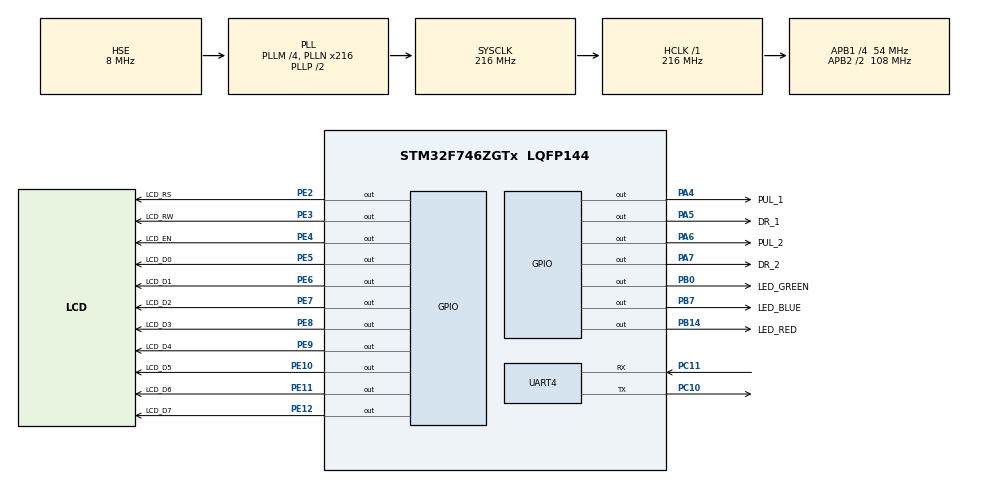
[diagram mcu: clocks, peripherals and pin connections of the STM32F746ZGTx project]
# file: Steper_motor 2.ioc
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Mcu.Family=STM32F7
Mcu.Name=STM32F746ZGTx
Mcu.Package=LQFP144
NVIC.PriorityGroup=NVIC_PRIORITYGROUP_4
PA13.Mode=Serial_Wire
PA13.Signal=SYS_JTMS-SWDIO
PA14.Mode=Serial_Wire
PA14.Signal=SYS_JTCK-SWCLK
PA4.GPIO_Label=PUL_1
PA4.GPIO_Speed=GPIO_SPEED_FREQ_MEDIUM
PA4.PinState=GPIO_PIN_SET
PA4.Signal=GPIO_Output
PA5.GPIO_Label=DR_1
PA5.GPIO_Speed=GPIO_SPEED_FREQ_MEDIUM
PA5.Signal=GPIO_Output
PA6.GPIO_Label=PUL_2
PA6.GPIO_Speed=GPIO_SPEED_FREQ_MEDIUM
PA6.PinState=GPIO_PIN_SET
PA6.Signal=GPIO_Output
PA7.GPIO_Label=DR_2
PA7.GPIO_Speed=GPIO_SPEED_FREQ_MEDIUM
PA7.Signal=GPIO_Output
PB0.GPIO_Label=LED_GREEN
PB0.Signal=GPIO_Output
PB14.GPIO_Label=LED_RED
PB14.Signal=GPIO_Output
PB7.GPIO_Label=LED_BLUE
PB7.Signal=GPIO_Output
PC10.Mode=Asynchronous
PC10.Signal=UART4_TX
PC11.Mode=Asynchronous
PC11.Signal=UART4_RX
PE10.GPIO_Label=LCD_D5
PE10.Signal=GPIO_Output
PE11.GPIO_Label=LCD_D6
PE11.Signal=GPIO_Output
PE12.GPIO_Label=LCD_D7
PE12.Signal=GPIO_Output
PE2.GPIO_Label=LCD_RS
PE2.Signal=GPIO_Output
PE3.GPIO_Label=LCD_RW
PE3.Signal=GPIO_Output
PE4.GPIO_Label=LCD_EN
PE4.Signal=GPIO_Output
PE5.GPIO_Label=LCD_D0
PE5.Signal=GPIO_Output
PE6.GPIO_Label=LCD_D1
PE6.Signal=GPIO_Output
PE7.GPIO_Label=LCD_D2
PE7.Signal=GPIO_Output
PE8.GPIO_Label=LCD_D3
PE8.Signal=GPIO_Output
PE9.GPIO_Label=LCD_D4
PE9.Signal=GPIO_Output
PH0/OSC_IN.Mode=HSE-External-Oscillator
PH0/OSC_IN.Signal=RCC_OSC_IN
PH1/OSC_OUT.Mode=HSE-External-Oscillator
PH1/OSC_OUT.Signal=RCC_OSC_OUT
ProjectManager.HeapSize=0x200
ProjectManager.StackSize=0x400
ProjectManager.TargetToolchain=STM32CubeIDE
RCC.48MHZClocksFreq_Value=24000000
RCC.AHBFreq_Value=216000000
RCC.APB1CLKDivider=RCC_HCLK_DIV4
RCC.APB1Freq_Value=54000000
RCC.APB1TimFreq_Value=108000000
RCC.APB2CLKDivider=RCC_HCLK_DIV2
RCC.APB2Freq_Value=108000000
RCC.APB2TimFreq_Value=216000000
RCC.CortexFreq_Value=216000000
RCC.HCLKFreq_Value=216000000
RCC.HSE_VALUE=8000000
RCC.HSI_VALUE=16000000
RCC.LSE_VALUE=32768
RCC.PLLM=4
RCC.PLLMUL=RCC_PLL_MUL9
RCC.PLLN=216
RCC.PLLSourceVirtual=RCC_PLLSOURCE_HSE
RCC.PRESCALERUSB=RCC_USBCLKSOURCE_PLL_DIV1_5
RCC.SYSCLKFreq_VALUE=216000000
RCC.SYSCLKSource=RCC_SYSCLKSOURCE_PLLCLK
RCC.SYSCLKSourceVirtual=RCC_SYSCLKSOURCE_PLLCLK
RCC.USBFreq_Value=216000000
RCC.VCOOutputFreq_Value=432000000
TIM1.Period=0xFFFF-1
TIM1.Prescaler=215
VP_TIM1_VS_ClockSourceINT.Mode=Internal
board=NUCLEO-F746ZG

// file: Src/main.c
/* USER CODE BEGIN Header */
/**
  ******************************************************************************
  * @file           : main.c
  * @brief          : Main program body
  ******************************************************************************
  * @attention
  *
  * <h2><center>&copy; Copyright (c) 2020 STMicroelectronics.
  * All rights reserved.</center></h2>
  *
  * This software component is licensed by ST under Ultimate Liberty license
  * SLA0044, the "License"; You may not use this file except in compliance with
  * the License. You may obtain a copy of the License at:
  *                             www.st.com/SLA0044
  *
  ******************************************************************************
  */
/* USER CODE END Header */

#include "main.h"

/* USER CODE BEGIN Includes */

#include "string.h"

/* USER CODE END Includes */

TIM_HandleTypeDef htim1;

UART_HandleTypeDef huart4;

/* USER CODE BEGIN PV */

int STATE_IND = 0 ,STOP_IND = 400 ,STATE_FILE_PRO = 0 ,Rx_complate = 1 ,once = 1 ,i = 0 ,j = 0;
char file[1] = {5}  ,file_copy[300000] ,BUFF[16];

/* USER CODE END PV */

void SystemClock_Config(void);
static void MX_GPIO_Init(void);
static void MX_TIM1_Init(void);
static void MX_UART4_Init(void);
/* USER CODE BEGIN PFP */

void delay_us(uint16_t us);

/* USER CODE END PFP */

int main(void)
{

  /* MCU Configuration--------------------------------------------------------*/

  /* Reset of all peripherals, Initializes the Flash interface and the Systick. */
  HAL_Init();

  /* Configure the system clock */
  SystemClock_Config();

  /* Initialize all configured peripherals */
  MX_GPIO_Init();
  MX_TIM1_Init();
  MX_UART4_Init();
  /* USER CODE BEGIN 2 */

  HAL_SuspendTick();
  HAL_TIM_Base_Start(&htim1);
  memset(file_copy ,'5' ,sizeof(file_copy));

  /* USER CODE END 2 */

  /* Infinite loop */
  /* USER CODE BEGIN WHILE */
  while (1)
  {
	   if (once == 1)
	   {
   	    for (i = 0 ;i <= 299999 ;i++)
        {
	          HAL_UART_Receive(&huart4 ,(unsigned char *)file ,1,100000);
		        file_copy[i] = file[0];
        }
	      once = 0;
        STATE_IND = 0;
        GPIOB->BSRR = LED_BLUE_Pin;
  	 }

	  while (STATE_FILE_PRO == 1)                                                        // start after process file
	  {
	     GPIOB->BSRR = LED_RED_Pin;
       switch (file_copy[STATE_IND])
       {
         case 1:
		       GPIOA->BSRR = GPIO_PIN_5;                                           // 5
	         GPIOA->BSRR = GPIO_PIN_7;								 													 // 7
		       GPIOA->BSRR = GPIO_PIN_4;																					 // 4
		       GPIOA->BSRR = GPIO_PIN_6;																					 // 6
		       delay_us(500);
	         GPIOA->BSRR = (uint32_t)GPIO_PIN_4 << 16;
	         GPIOA->BSRR = (uint32_t)GPIO_PIN_6 << 16;
           delay_us(500);
		       STATE_IND += 4;
      	   break;
      	 case 2:
		       GPIOA->BSRR = GPIO_PIN_5;                                           // 5
		       GPIOA->BSRR = (uint32_t)GPIO_PIN_7 << 16;													 // 7
		       GPIOA->BSRR = GPIO_PIN_4;																					 // 4
		       GPIOA->BSRR = GPIO_PIN_6;																					 // 6
		       delay_us(500);
		       GPIOA->BSRR = (uint32_t)GPIO_PIN_4 << 16;
	     	   GPIOA->BSRR = (uint32_t)GPIO_PIN_6 << 16;
	         delay_us(500);
	         STATE_IND += 4;
           break;
    	   case 3:
		       GPIOA->BSRR = GPIO_PIN_5;                                           // 5
	         GPIOA->BSRR = GPIO_PIN_7;																					 // 7
	         GPIOA->BSRR = GPIO_PIN_4;																					 // 4
		       GPIOA->BSRR = GPIO_PIN_6;																					 // 6
		       delay_us(500);
		       GPIOA->BSRR = (uint32_t)GPIO_PIN_4 << 16;
		       delay_us(500);
		       STATE_IND += 4;
		       break;
	       case 4:
	         GPIOA->BSRR = (uint32_t)GPIO_PIN_5 << 16;                           // 5
	         GPIOA->BSRR = GPIO_PIN_7;																					 // 7
		       GPIOA->BSRR = GPIO_PIN_4;																					 // 4
	         GPIOA->BSRR = GPIO_PIN_6;																					 // 6
		       delay_us(500);
		       GPIOA->BSRR = (uint32_t)GPIO_PIN_4 << 16;
		       GPIOA->BSRR = (uint32_t)GPIO_PIN_6 << 16;
		       delay_us(500);
		       STATE_IND += 4;
		       break;
	       case 5:
	         GPIOA->BSRR = (uint32_t)GPIO_PIN_5 << 16;                           // 5
	         GPIOA->BSRR = (uint32_t)GPIO_PIN_7 << 16;													 // 7
	         GPIOA->BSRR = GPIO_PIN_4;																					 // 4
	      	 GPIOA->BSRR = GPIO_PIN_6;																					 // 6
		       delay_us(500);
		       GPIOA->BSRR = (uint32_t)GPIO_PIN_4 << 16;
		       GPIOA->BSRR = (uint32_t)GPIO_PIN_6 << 16;
		       delay_us(500);
		       STATE_IND += 4;
		       break;
	       case 6:
		       GPIOA->BSRR = (uint32_t)GPIO_PIN_5 << 16;                           // 5
		       GPIOA->BSRR = GPIO_PIN_7;																					 // 7
		       GPIOA->BSRR = GPIO_PIN_4;																					 // 4
		       GPIOA->BSRR = GPIO_PIN_6;																					 // 6
		       delay_us(500);
		       GPIOA->BSRR = (uint32_t)GPIO_PIN_4 << 16;
		       delay_us(500);
		       STATE_IND += 4;
		       break;
	    	 case 7:
		       GPIOA->BSRR = GPIO_PIN_5;                                           // 5
		       GPIOA->BSRR = GPIO_PIN_7;																					 // 7
		       GPIOA->BSRR = GPIO_PIN_4;																					 // 4
		       GPIOA->BSRR = GPIO_PIN_6;																					 // 6
		       delay_us(500);
		       GPIOA->BSRR = (uint32_t)GPIO_PIN_6 << 16;
		       delay_us(500);
		       STATE_IND += 4;
	   	     break;
	      case 8:
		      GPIOA->BSRR = GPIO_PIN_5;                                           // 5
		      GPIOA->BSRR = (uint32_t)GPIO_PIN_7 << 16;				  								 // 7
		      GPIOA->BSRR = GPIO_PIN_4;																					 // 4
		      GPIOA->BSRR = GPIO_PIN_6;																					 // 6
		      delay_us(500);
		      GPIOA->BSRR = (uint32_t)GPIO_PIN_6 << 16;
		      delay_us(500);
		      STATE_IND += 4;
		      break;
	      case 9:
		      GPIOA->BSRR = GPIO_PIN_5;                                           // 5
		      GPIOA->BSRR = GPIO_PIN_7;																					 // 7
		      GPIOA->BSRR = GPIO_PIN_4;																					 // 4
		      GPIOA->BSRR = GPIO_PIN_6;																					 // 6
		      delay_us(1000);
		      STATE_IND += 4;
		      break;
       }
	     if (STATE_IND >= STOP_IND)                                                      // end of file and stop running motor
	     {
		      STATE_FILE_PRO = 0;
		      STATE_IND = 0;
	     }
	  }

    if (Rx_complate == 1)                                                           // receive hole file and start moving motor
  	{
	     for (STATE_IND = 40 ;STATE_IND <= 299999 ;STATE_IND++)
       {
		       if (file_copy[STATE_IND] == 50)
		       {
		           STOP_IND = STATE_IND;
		           break;
	         }
       }
       j = STOP_IND/4;
			 STATE_IND = 0;
	     for (i = 0 ;i <= j ;i++)
	     {
	         if (file_copy[STATE_IND] == 49 && file_copy[STATE_IND + 1] == 48 && file_copy[STATE_IND + 2] == 49 && file_copy[STATE_IND +3] == 48)
	         {
              file_copy[STATE_IND] = 1;
		          STATE_IND += 4;
           }
	         if (file_copy[STATE_IND] == 48 && file_copy[STATE_IND + 1] == 49 && file_copy[STATE_IND + 2] == 48 && file_copy[STATE_IND +3] == 49)
	         {
		          file_copy[STATE_IND] = 5;
		          STATE_IND += 4;
           }
	         if (file_copy[STATE_IND] == 48 && file_copy[STATE_IND + 1] == 48 && file_copy[STATE_IND + 2] == 48 && file_copy[STATE_IND +3] == 48)
	         {
	     	      file_copy[STATE_IND] = 9;
		          STATE_IND += 4;
	         }
	         if (file_copy[STATE_IND] == 49 && file_copy[STATE_IND + 1] == 48 && file_copy[STATE_IND + 2] == 48 && file_copy[STATE_IND +3] == 49)
	         {
	    	      file_copy[STATE_IND] = 2;
	    	      STATE_IND += 4;
	         }
	         if (file_copy[STATE_IND] == 49 && file_copy[STATE_IND + 1] == 48 && file_copy[STATE_IND + 2] == 48 && file_copy[STATE_IND +3] == 48)
	         {
	    	      file_copy[STATE_IND] = 3;
	    	      STATE_IND += 4;
	         }
	         if (file_copy[STATE_IND] == 48 && file_copy[STATE_IND + 1] == 49 && file_copy[STATE_IND + 2] == 49 && file_copy[STATE_IND +3] == 48)
	         {
	    	      file_copy[STATE_IND] = 4;
	    	      STATE_IND += 4;
	         }
	        if (file_copy[STATE_IND] == 48 && file_copy[STATE_IND + 1] == 49 && file_copy[STATE_IND + 2] == 48 && file_copy[STATE_IND +3] == 48)
	        {
	    	     file_copy[STATE_IND] = 6;
	    	     STATE_IND += 4;
	        }
	        if (file_copy[STATE_IND] == 48 && file_copy[STATE_IND + 1] == 48 && file_copy[STATE_IND + 2] == 49 && file_copy[STATE_IND +3] == 48)
	        {
	    	     file_copy[STATE_IND] = 7;
	    	     STATE_IND += 4;
	        }
	        if (file_copy[STATE_IND] == 48 && file_copy[STATE_IND + 1] == 48 && file_copy[STATE_IND + 2] == 48 && file_copy[STATE_IND +3] == 49)
	        {
	    	     file_copy[STATE_IND] = 8;
	    	     STATE_IND += 4;
	        }
       }
	     GPIOB->BSRR = LED_GREEN_Pin;
	     STATE_IND = 0;
	     STATE_FILE_PRO = 1;
	     Rx_complate = 0;
   }

    /* USER CODE END WHILE */

  }
}

void SystemClock_Config(void)
{
  RCC_OscInitTypeDef RCC_OscInitStruct = {0};
  RCC_ClkInitTypeDef RCC_ClkInitStruct = {0};
  RCC_PeriphCLKInitTypeDef PeriphClkInitStruct = {0};

  /** Configure the main internal regulator output voltage
  */
  __HAL_RCC_PWR_CLK_ENABLE();
  __HAL_PWR_VOLTAGESCALING_CONFIG(PWR_REGULATOR_VOLTAGE_SCALE1);
  /** Initializes the CPU, AHB and APB busses clocks
  */
  RCC_OscInitStruct.OscillatorType = RCC_OSCILLATORTYPE_HSE;
  RCC_OscInitStruct.HSEState = RCC_HSE_ON;
  RCC_OscInitStruct.PLL.PLLState = RCC_PLL_ON;
  RCC_OscInitStruct.PLL.PLLSource = RCC_PLLSOURCE_HSE;
  RCC_OscInitStruct.PLL.PLLM = 4;
  RCC_OscInitStruct.PLL.PLLN = 216;
  RCC_OscInitStruct.PLL.PLLP = RCC_PLLP_DIV2;
  RCC_OscInitStruct.PLL.PLLQ = 2;
  if (HAL_RCC_OscConfig(&RCC_OscInitStruct) != HAL_OK)
  {
    Error_Handler();
  }
  /** Activate the Over-Drive mode
  */
  if (HAL_PWREx_EnableOverDrive() != HAL_OK)
  {
    Error_Handler();
  }
  /** Initializes the CPU, AHB and APB busses clocks
  */
  RCC_ClkInitStruct.ClockType = RCC_CLOCKTYPE_HCLK|RCC_CLOCKTYPE_SYSCLK
                              |RCC_CLOCKTYPE_PCLK1|RCC_CLOCKTYPE_PCLK2;
  RCC_ClkInitStruct.SYSCLKSource = RCC_SYSCLKSOURCE_PLLCLK;
  RCC_ClkInitStruct.AHBCLKDivider = RCC_SYSCLK_DIV1;
  RCC_ClkInitStruct.APB1CLKDivider = RCC_HCLK_DIV4;
  RCC_ClkInitStruct.APB2CLKDivider = RCC_HCLK_DIV2;

  if (HAL_RCC_ClockConfig(&RCC_ClkInitStruct, FLASH_LATENCY_7) != HAL_OK)
  {
    Error_Handler();
  }
  PeriphClkInitStruct.PeriphClockSelection = RCC_PERIPHCLK_UART4;
  PeriphClkInitStruct.Uart4ClockSelection = RCC_UART4CLKSOURCE_PCLK1;
  if (HAL_RCCEx_PeriphCLKConfig(&PeriphClkInitStruct) != HAL_OK)
  {
    Error_Handler();
  }
}

static void MX_TIM1_Init(void)
{

  TIM_ClockConfigTypeDef sClockSourceConfig = {0};
  TIM_MasterConfigTypeDef sMasterConfig = {0};

  htim1.Instance = TIM1;
  htim1.Init.Prescaler = 215;
  htim1.Init.CounterMode = TIM_COUNTERMODE_UP;
  htim1.Init.Period = 0xFFFF-1;
  htim1.Init.ClockDivision = TIM_CLOCKDIVISION_DIV1;
  htim1.Init.RepetitionCounter = 0;
  htim1.Init.AutoReloadPreload = TIM_AUTORELOAD_PRELOAD_DISABLE;
  if (HAL_TIM_Base_Init(&htim1) != HAL_OK)
  {
    Error_Handler();
  }
  sClockSourceConfig.ClockSource = TIM_CLOCKSOURCE_INTERNAL;
  if (HAL_TIM_ConfigClockSource(&htim1, &sClockSourceConfig) != HAL_OK)
  {
    Error_Handler();
  }
  sMasterConfig.MasterOutputTrigger = TIM_TRGO_RESET;
  sMasterConfig.MasterOutputTrigger2 = TIM_TRGO2_RESET;
  sMasterConfig.MasterSlaveMode = TIM_MASTERSLAVEMODE_DISABLE;
  if (HAL_TIMEx_MasterConfigSynchronization(&htim1, &sMasterConfig) != HAL_OK)
  {
    Error_Handler();
  }

}

static void MX_UART4_Init(void)
{

  huart4.Instance = UART4;
  huart4.Init.BaudRate = 115200;
  huart4.Init.WordLength = UART_WORDLENGTH_8B;
  huart4.Init.StopBits = UART_STOPBITS_1;
  huart4.Init.Parity = UART_PARITY_NONE;
  huart4.Init.Mode = UART_MODE_TX_RX;
  huart4.Init.HwFlowCtl = UART_HWCONTROL_NONE;
  huart4.Init.OverSampling = UART_OVERSAMPLING_16;
  huart4.Init.OneBitSampling = UART_ONE_BIT_SAMPLE_DISABLE;
  huart4.AdvancedInit.AdvFeatureInit = UART_ADVFEATURE_NO_INIT;
  if (HAL_UART_Init(&huart4) != HAL_OK)
  {
    Error_Handler();
  }

}

static void MX_GPIO_Init(void)
{
  GPIO_InitTypeDef GPIO_InitStruct = {0};

  /* GPIO Ports Clock Enable */
  __HAL_RCC_GPIOE_CLK_ENABLE();
  __HAL_RCC_GPIOH_CLK_ENABLE();
  __HAL_RCC_GPIOA_CLK_ENABLE();
  __HAL_RCC_GPIOB_CLK_ENABLE();
  __HAL_RCC_GPIOC_CLK_ENABLE();

  /*Configure GPIO pin Output Level */
  HAL_GPIO_WritePin(GPIOE, LCD_RS_Pin|LCD_RW_Pin|LCD_EN_Pin|LCD_D0_Pin
                          |LCD_D1_Pin|LCD_D2_Pin|LCD_D3_Pin|LCD_D4_Pin
                          |LCD_D5_Pin|LCD_D6_Pin|LCD_D7_Pin, GPIO_PIN_RESET);

  /*Configure GPIO pin Output Level */
  HAL_GPIO_WritePin(GPIOA, PUL_1_Pin|PUL_2_Pin, GPIO_PIN_SET);

  /*Configure GPIO pin Output Level */
  HAL_GPIO_WritePin(GPIOA, DR_1_Pin|DR_2_Pin, GPIO_PIN_RESET);

  /*Configure GPIO pin Output Level */
  HAL_GPIO_WritePin(GPIOB, LED_GREEN_Pin|LED_RED_Pin|LED_BLUE_Pin, GPIO_PIN_RESET);

  /*Configure GPIO pins : LCD_RS_Pin LCD_RW_Pin LCD_EN_Pin LCD_D0_Pin
                           LCD_D1_Pin LCD_D2_Pin LCD_D3_Pin LCD_D4_Pin
                           LCD_D5_Pin LCD_D6_Pin LCD_D7_Pin */
  GPIO_InitStruct.Pin = LCD_RS_Pin|LCD_RW_Pin|LCD_EN_Pin|LCD_D0_Pin
                          |LCD_D1_Pin|LCD_D2_Pin|LCD_D3_Pin|LCD_D4_Pin
                          |LCD_D5_Pin|LCD_D6_Pin|LCD_D7_Pin;
  GPIO_InitStruct.Mode = GPIO_MODE_OUTPUT_PP;
  GPIO_InitStruct.Pull = GPIO_NOPULL;
  GPIO_InitStruct.Speed = GPIO_SPEED_FREQ_LOW;
  HAL_GPIO_Init(GPIOE, &GPIO_InitStruct);

  /*Configure GPIO pins : PUL_1_Pin DR_1_Pin PUL_2_Pin DR_2_Pin */
  GPIO_InitStruct.Pin = PUL_1_Pin|DR_1_Pin|PUL_2_Pin|DR_2_Pin;
  GPIO_InitStruct.Mode = GPIO_MODE_OUTPUT_PP;
  GPIO_InitStruct.Pull = GPIO_NOPULL;
  GPIO_InitStruct.Speed = GPIO_SPEED_FREQ_MEDIUM;
  HAL_GPIO_Init(GPIOA, &GPIO_InitStruct);

  /*Configure GPIO pins : LED_GREEN_Pin LED_RED_Pin LED_BLUE_Pin */
  GPIO_InitStruct.Pin = LED_GREEN_Pin|LED_RED_Pin|LED_BLUE_Pin;
  GPIO_InitStruct.Mode = GPIO_MODE_OUTPUT_PP;
  GPIO_InitStruct.Pull = GPIO_NOPULL;
  GPIO_InitStruct.Speed = GPIO_SPEED_FREQ_LOW;
  HAL_GPIO_Init(GPIOB, &GPIO_InitStruct);

}

/* USER CODE BEGIN 4 */

void delay_us(uint16_t us)
{
	__HAL_TIM_SET_COUNTER(&htim1 ,0);
	while (__HAL_TIM_GET_COUNTER(&htim1) < us)
	{

	}
}

/* USER CODE END 4 */

void Error_Handler(void)
{
}

/************************ (C) COPYRIGHT STMicroelectronics *****END OF FILE****/
